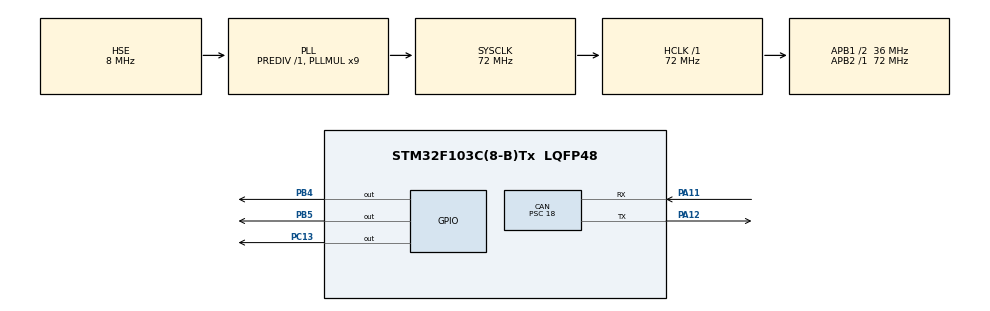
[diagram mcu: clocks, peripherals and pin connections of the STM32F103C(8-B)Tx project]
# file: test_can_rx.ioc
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CAN.BS1=CAN_BS1_2TQ
CAN.CalculateBaudRate=500000
CAN.CalculateTimeBit=2000
CAN.CalculateTimeQuantum=500.0
CAN.Prescaler=18
Mcu.Family=STM32F1
Mcu.Name=STM32F103C(8-B)Tx
Mcu.Package=LQFP48
NVIC.CAN1_RX1_IRQn=true\:0\:0\:false\:false\:true\:true\:true\:true
NVIC.PriorityGroup=NVIC_PRIORITYGROUP_4
NVIC.USB_LP_CAN1_RX0_IRQn=true\:0\:0\:false\:false\:true\:true\:true\:true
PA11.Mode=CAN_Activate
PA11.Signal=CAN_RX
PA12.Mode=CAN_Activate
PA12.Signal=CAN_TX
PA13.Mode=Serial_Wire
PA13.Signal=SYS_JTMS-SWDIO
PA14.Mode=Serial_Wire
PA14.Signal=SYS_JTCK-SWCLK
PB4.GPIO_PuPd=GPIO_PULLDOWN
PB4.Signal=GPIO_Output
PB5.GPIO_PuPd=GPIO_PULLDOWN
PB5.Signal=GPIO_Output
PC13-TAMPER-RTC.Signal=GPIO_Output
PD0-OSC_IN.Mode=HSE-External-Oscillator
PD0-OSC_IN.Signal=RCC_OSC_IN
PD1-OSC_OUT.Mode=HSE-External-Oscillator
PD1-OSC_OUT.Signal=RCC_OSC_OUT
ProjectManager.HeapSize=0x200
ProjectManager.StackSize=0x400
ProjectManager.TargetToolchain=STM32CubeIDE
RCC.AHBFreq_Value=72000000
RCC.APB1CLKDivider=RCC_HCLK_DIV2
RCC.APB1Freq_Value=36000000
RCC.APB1TimFreq_Value=72000000
RCC.APB2Freq_Value=72000000
RCC.APB2TimFreq_Value=72000000
RCC.HCLKFreq_Value=72000000
RCC.PLLMUL=RCC_PLL_MUL9
RCC.PLLSourceVirtual=RCC_PLLSOURCE_HSE
RCC.SYSCLKFreq_VALUE=72000000
RCC.SYSCLKSource=RCC_SYSCLKSOURCE_PLLCLK
RCC.USBFreq_Value=72000000
board=custom

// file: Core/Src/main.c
/* USER CODE BEGIN Header */
/**
  ******************************************************************************
  * @file           : main.c
  * @brief          : Main program body
  ******************************************************************************
  * @attention
  *
  * Copyright (c) 2023 STMicroelectronics.
  * All rights reserved.
  *
  * This software is licensed under terms that can be found in the LICENSE file
  * in the root directory of this software component.
  * If no LICENSE file comes with this software, it is provided AS-IS.
  *
  ******************************************************************************
  */
/* USER CODE END Header */
#include "main.h"

CAN_HandleTypeDef hcan;

void SystemClock_Config(void);
static void MX_GPIO_Init(void);
static void MX_CAN_Init(void);

/* USER CODE BEGIN 0 */

CAN_TxHeaderTypeDef TxHeader;
CAN_RxHeaderTypeDef RxHeader;

uint32_t TxMailbox[3];

uint8_t TxData[8];
uint8_t RxData[8];

uint8_t datacheck = 0;

void HAL_CAN_RxFifo0MsgPendingCallback(CAN_HandleTypeDef *hcan)
{
	HAL_CAN_GetRxMessage(hcan, CAN_RX_FIFO0, &RxHeader, RxData);
	if (RxHeader.DLC == 1)
	{
		datacheck = 1;
	}
}

/* USER CODE END 0 */

int main(void)
{

  /* MCU Configuration--------------------------------------------------------*/

  /* Reset of all peripherals, Initializes the Flash interface and the Systick. */
  HAL_Init();

  /* Configure the system clock */
  SystemClock_Config();

  /* Initialize all configured peripherals */
  MX_GPIO_Init();
  MX_CAN_Init();
  /* USER CODE BEGIN 2 */

  HAL_CAN_Start(&hcan);

      HAL_CAN_ActivateNotification(&hcan, CAN_IT_RX_FIFO0_MSG_PENDING);

      TxHeader.DLC = 2;
      TxHeader.ExtId = 0;
      TxHeader.IDE = CAN_ID_STD;
      TxHeader.RTR = CAN_RTR_DATA;
      TxHeader.StdId = 0x112;
      TxHeader.TransmitGlobalTime = DISABLE;

      TxData[0] = 0x01;
      TxData[1] = 0x02;
      TxData[2] = 0x03;

      if (HAL_CAN_AddTxMessage(&hcan, &TxHeader, &TxData[0], &TxMailbox[0]) != HAL_OK)
      {
    	  Error_Handler();
      }
      if (HAL_CAN_AddTxMessage(&hcan, &TxHeader, &TxData[1], &TxMailbox[1]) != HAL_OK)
      {
    	  Error_Handler();
      }
      if (HAL_CAN_AddTxMessage(&hcan, &TxHeader, &TxData[2], &TxMailbox[2]) != HAL_OK)
      {
    	  Error_Handler();
      }

  /* USER CODE END 2 */

  /* Infinite loop */
  while (1)
  {

    /* USER CODE BEGIN 3 */

	  HAL_Delay (10000);

	  if (datacheck)
	  {
		  // blink the LED
		  for (int i=0; i<20; i++)
		  {
			  HAL_GPIO_TogglePin(GPIOC, GPIO_PIN_13);
			  HAL_Delay(200);
		  }

		  datacheck = 0;

	  }
  }
  /* USER CODE END 3 */
}

void SystemClock_Config(void)
{
  RCC_OscInitTypeDef RCC_OscInitStruct = {0};
  RCC_ClkInitTypeDef RCC_ClkInitStruct = {0};

  /** Initializes the RCC Oscillators according to the specified parameters
  * in the RCC_OscInitTypeDef structure.
  */
  RCC_OscInitStruct.OscillatorType = RCC_OSCILLATORTYPE_HSE;
  RCC_OscInitStruct.HSEState = RCC_HSE_ON;
  RCC_OscInitStruct.HSEPredivValue = RCC_HSE_PREDIV_DIV1;
  RCC_OscInitStruct.HSIState = RCC_HSI_ON;
  RCC_OscInitStruct.PLL.PLLState = RCC_PLL_ON;
  RCC_OscInitStruct.PLL.PLLSource = RCC_PLLSOURCE_HSE;
  RCC_OscInitStruct.PLL.PLLMUL = RCC_PLL_MUL9;
  if (HAL_RCC_OscConfig(&RCC_OscInitStruct) != HAL_OK)
  {
    Error_Handler();
  }

  /** Initializes the CPU, AHB and APB buses clocks
  */
  RCC_ClkInitStruct.ClockType = RCC_CLOCKTYPE_HCLK|RCC_CLOCKTYPE_SYSCLK
                              |RCC_CLOCKTYPE_PCLK1|RCC_CLOCKTYPE_PCLK2;
  RCC_ClkInitStruct.SYSCLKSource = RCC_SYSCLKSOURCE_PLLCLK;
  RCC_ClkInitStruct.AHBCLKDivider = RCC_SYSCLK_DIV1;
  RCC_ClkInitStruct.APB1CLKDivider = RCC_HCLK_DIV2;
  RCC_ClkInitStruct.APB2CLKDivider = RCC_HCLK_DIV1;

  if (HAL_RCC_ClockConfig(&RCC_ClkInitStruct, FLASH_LATENCY_2) != HAL_OK)
  {
    Error_Handler();
  }
}

static void MX_CAN_Init(void)
{

  hcan.Instance = CAN1;
  hcan.Init.Prescaler = 18;
  hcan.Init.Mode = CAN_MODE_NORMAL;
  hcan.Init.SyncJumpWidth = CAN_SJW_1TQ;
  hcan.Init.TimeSeg1 = CAN_BS1_2TQ;
  hcan.Init.TimeSeg2 = CAN_BS2_1TQ;
  hcan.Init.TimeTriggeredMode = DISABLE;
  hcan.Init.AutoBusOff = DISABLE;
  hcan.Init.AutoWakeUp = DISABLE;
  hcan.Init.AutoRetransmission = DISABLE;
  hcan.Init.ReceiveFifoLocked = DISABLE;
  hcan.Init.TransmitFifoPriority = DISABLE;
  if (HAL_CAN_Init(&hcan) != HAL_OK)
  {
    Error_Handler();
  }
  /* USER CODE BEGIN CAN_Init 2 */

  CAN_FilterTypeDef canfilterconfig;

  canfilterconfig.FilterActivation = CAN_FILTER_ENABLE;
  canfilterconfig.FilterBank = 10;  // anything between 0 to SlaveStartFilterBank
  canfilterconfig.FilterFIFOAssignment = CAN_RX_FIFO0;
  canfilterconfig.FilterIdHigh = 0x111<<5;
  canfilterconfig.FilterIdLow = 0x0;
  canfilterconfig.FilterMaskIdHigh = 0x1<<13;
  canfilterconfig.FilterMaskIdLow = 0x0000;
  canfilterconfig.FilterMode = CAN_FILTERMODE_IDMASK;
  canfilterconfig.FilterScale = CAN_FILTERSCALE_32BIT;
  canfilterconfig.SlaveStartFilterBank = 13;  // 13 to 27 are assigned to slave CAN (CAN 2) OR 0 to 12 are assgned to CAN1

  HAL_CAN_ConfigFilter(&hcan, &canfilterconfig);

  /* USER CODE END CAN_Init 2 */

}

static void MX_GPIO_Init(void)
{
  GPIO_InitTypeDef GPIO_InitStruct = {0};

  /* GPIO Ports Clock Enable */
  __HAL_RCC_GPIOC_CLK_ENABLE();
  __HAL_RCC_GPIOD_CLK_ENABLE();
  __HAL_RCC_GPIOA_CLK_ENABLE();
  __HAL_RCC_GPIOB_CLK_ENABLE();

  /*Configure GPIO pin Output Level */
  HAL_GPIO_WritePin(GPIOC, GPIO_PIN_13, GPIO_PIN_RESET);

  /*Configure GPIO pin Output Level */
  HAL_GPIO_WritePin(GPIOB, GPIO_PIN_4|GPIO_PIN_5, GPIO_PIN_RESET);

  /*Configure GPIO pin : PC13 */
  GPIO_InitStruct.Pin = GPIO_PIN_13;
  GPIO_InitStruct.Mode = GPIO_MODE_OUTPUT_PP;
  GPIO_InitStruct.Pull = GPIO_NOPULL;
  GPIO_InitStruct.Speed = GPIO_SPEED_FREQ_LOW;
  HAL_GPIO_Init(GPIOC, &GPIO_InitStruct);

  /*Configure GPIO pins : PB4 PB5 */
  GPIO_InitStruct.Pin = GPIO_PIN_4|GPIO_PIN_5;
  GPIO_InitStruct.Mode = GPIO_MODE_OUTPUT_PP;
  GPIO_InitStruct.Pull = GPIO_PULLDOWN;
  GPIO_InitStruct.Speed = GPIO_SPEED_FREQ_LOW;
  HAL_GPIO_Init(GPIOB, &GPIO_InitStruct);

}

void Error_Handler(void)
{
  __disable_irq();
  while (1)
  {
  }
}
